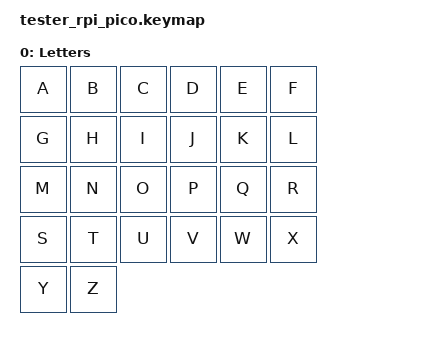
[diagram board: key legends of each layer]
#include <behaviors.dtsi>
#include <dt-bindings/zmk/keys.h>

/ {
    keymap {
        compatible = "zmk,keymap";

        default_layer {
            display-name = "Letters";
            bindings = <
                &kp A &kp B &kp C &kp D &kp E &kp F
                &kp G &kp H &kp I &kp J &kp K &kp L
                &kp M &kp N &kp O &kp P &kp Q &kp R
                &kp S &kp T &kp U &kp V &kp W &kp X
                &kp Y &kp Z
            >;
        };

        // Empty layers for ZMK Studio:
        extra1 {
            status = "reserved";
        };
        extra2 {
            status = "reserved";
        };
        extra3 {
            status = "reserved";
        };
        extra4 {
            status = "reserved";
        };
        extra5 {
            status = "reserved";
        };

    };
};


